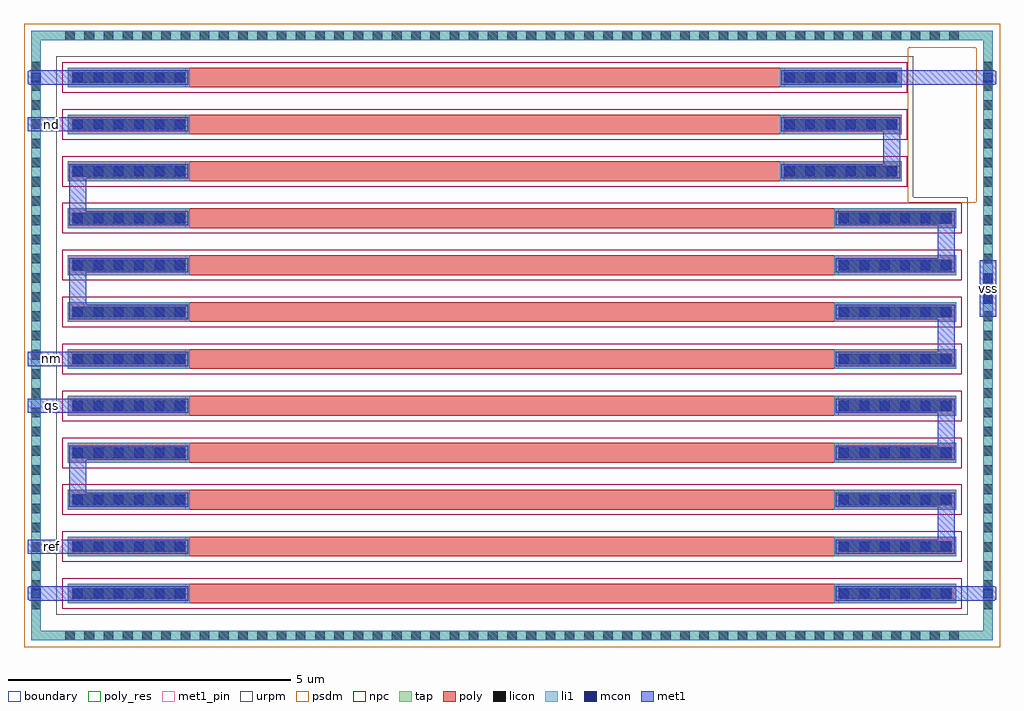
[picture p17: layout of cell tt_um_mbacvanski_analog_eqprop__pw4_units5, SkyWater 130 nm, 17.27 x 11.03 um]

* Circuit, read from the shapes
.subckt tt_um_mbacvanski_analog_eqprop__pw4_units5 nd nm qs ref vss
XR1 vss vss vss sky130_fd_pr__res_xhigh_po w=0.35 l=11.44
XR2 tt_um_mbacvanski_analog_eqprop__strips9_0/R1_6 ref vss sky130_fd_pr__res_xhigh_po w=0.35 l=11.44
XR3 tt_um_mbacvanski_analog_eqprop__strips9_0/R1_6 tt_um_mbacvanski_analog_eqprop__strips9_0/R2_5 vss sky130_fd_pr__res_xhigh_po w=0.35 l=11.44
XR4 tt_um_mbacvanski_analog_eqprop__strips9_0/R1_4 tt_um_mbacvanski_analog_eqprop__strips9_0/R2_5 vss sky130_fd_pr__res_xhigh_po w=0.35 l=11.44
XR5 tt_um_mbacvanski_analog_eqprop__strips9_0/R1_4 qs vss sky130_fd_pr__res_xhigh_po w=0.35 l=11.44
XR6 tt_um_mbacvanski_analog_eqprop__strips9_0/R1_2 nm vss sky130_fd_pr__res_xhigh_po w=0.35 l=11.44
XR7 tt_um_mbacvanski_analog_eqprop__strips9_0/R1_2 tt_um_mbacvanski_analog_eqprop__strips9_0/R2_1 vss sky130_fd_pr__res_xhigh_po w=0.35 l=11.44
XR8 tt_um_mbacvanski_analog_eqprop__strips9_0/R1_0 tt_um_mbacvanski_analog_eqprop__strips9_0/R2_1 vss sky130_fd_pr__res_xhigh_po w=0.35 l=11.44
XR9 tt_um_mbacvanski_analog_eqprop__strips9_0/R1_0 tt_um_mbacvanski_analog_eqprop__strips9_0/R2_0 vss sky130_fd_pr__res_xhigh_po w=0.35 l=11.44
XR10 tt_um_mbacvanski_analog_eqprop__strips3s_1/R1_1 tt_um_mbacvanski_analog_eqprop__strips9_0/R2_0 vss sky130_fd_pr__res_xhigh_po w=0.35 l=10.48
XR11 tt_um_mbacvanski_analog_eqprop__strips3s_1/R1_1 nd vss sky130_fd_pr__res_xhigh_po w=0.35 l=10.48
XR12 vss vss vss sky130_fd_pr__res_xhigh_po w=0.35 l=10.48
.ends

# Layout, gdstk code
from math import pi, radians
import gdstk
lib = gdstk.Library(unit=1e-6, precision=1e-09)
def R(c, l, rs):  # rectangles x0, y0, x1, y1
    for r in rs: c.add(gdstk.rectangle(r[:2], r[2:], *l))
def A(c, l, x, y, w, h, nx, ny, dx, dy):  # array of equal rectangles
    R(c, l, [(x+i*dx, y+j*dy, x+i*dx+w, y+j*dy+h) for i in range(nx) for j in range(ny)])
tap = (65, 44)
poly_res = (66, 13)
poly = (66, 20)
licon = (66, 44)
li1 = (67, 20)
mcon = (67, 44)
met1_pin = (68, 16)
met1 = (68, 20)
urpm = (79, 20)
psdm = (94, 20)
npc = (95, 20)
boundary = (235, 4)

tt_um_mbacvanski_analog_ = lib.new_cell('tt_um_mbacvanski_analog_eqprop__strips9')
A(tt_um_mbacvanski_analog_, poly_res, -3.495, -5.78, 0.35, 11.56, 9, 1, 0.83, 0)
A(tt_um_mbacvanski_analog_, poly, -3.495, -7.86, 0.35, 15.72, 9, 1, 0.83, 0)
A(tt_um_mbacvanski_analog_, licon, -3.415, -7.78, 0.19, 2, 9, 2, 0.83, 13.56)
A(tt_um_mbacvanski_analog_, li1, -3.495, -7.86, 0.35, 2.16, 9, 2, 0.83, 13.56)
A(tt_um_mbacvanski_analog_, mcon, -3.405, -7.765, 0.17, 0.17, 9, 6, 0.83, 0.36)
A(tt_um_mbacvanski_analog_, mcon, -3.405, 5.79, 0.17, 0.17, 9, 6, 0.83, 0.36)
A(tt_um_mbacvanski_analog_, met1, -3.445, -7.83, 0.25, 2.105, 9, 2, 0.83, 13.555)
R(tt_um_mbacvanski_analog_, urpm, [(-3.695,-8.06,3.695,8.06)])
R(tt_um_mbacvanski_analog_, psdm, [(-3.605,-7.97,3.605,7.97)])
A(tt_um_mbacvanski_analog_, npc, -3.59, -7.955, 0.54, 15.91, 9, 1, 0.83, 0)
tt_um_mbacvanski_analog_.add(gdstk.Label('R2_8', (3.32,-7.685), layer=67, texttype=5))
tt_um_mbacvanski_analog_.add(gdstk.Label('R1_8', (3.32,7.685), layer=67, texttype=5))
tt_um_mbacvanski_analog_.add(gdstk.Label('R2_7', (2.49,-7.685), layer=67, texttype=5))
tt_um_mbacvanski_analog_.add(gdstk.Label('R1_7', (2.49,7.685), layer=67, texttype=5))
tt_um_mbacvanski_analog_.add(gdstk.Label('R2_6', (1.66,-7.685), layer=67, texttype=5))
tt_um_mbacvanski_analog_.add(gdstk.Label('R1_0', (-3.32,7.685), layer=67, texttype=5))
tt_um_mbacvanski_analog_.add(gdstk.Label('R1_3', (-0.83,7.685), layer=67, texttype=5))
tt_um_mbacvanski_analog_.add(gdstk.Label('R1_1', (-2.49,7.685), layer=67, texttype=5))
tt_um_mbacvanski_analog_.add(gdstk.Label('R2_5', (0.83,-7.685), layer=67, texttype=5))
tt_um_mbacvanski_analog_.add(gdstk.Label('R2_0', (-3.32,-7.685), layer=67, texttype=5))
tt_um_mbacvanski_analog_.add(gdstk.Label('R2_1', (-2.49,-7.685), layer=67, texttype=5))
tt_um_mbacvanski_analog_.add(gdstk.Label('R2_2', (-1.66,-7.685), layer=67, texttype=5))
tt_um_mbacvanski_analog_.add(gdstk.Label('R1_6', (1.66,7.685), layer=67, texttype=5))
tt_um_mbacvanski_analog_.add(gdstk.Label('R2_3', (-0.83,-7.685), layer=67, texttype=5))
tt_um_mbacvanski_analog_.add(gdstk.Label('R1_2', (-1.66,7.685), layer=67, texttype=5))
tt_um_mbacvanski_analog_.add(gdstk.Label('R2_4', (0,-7.685), layer=67, texttype=5))
tt_um_mbacvanski_analog_.add(gdstk.Label('R1_5', (0.83,7.685), layer=67, texttype=5))
tt_um_mbacvanski_analog_.add(gdstk.Label('R1_4', (0,7.685), layer=67, texttype=5))

c_tt_um_mbacvanski_analog_ = lib.new_cell('tt_um_mbacvanski_analog_eqprop__strips3s')
A(c_tt_um_mbacvanski_analog_, poly_res, -1.005, -5.3, 0.35, 10.6, 3, 1, 0.83, 0)
A(c_tt_um_mbacvanski_analog_, poly, -1.005, -7.38, 0.35, 14.76, 3, 1, 0.83, 0)
A(c_tt_um_mbacvanski_analog_, licon, -0.925, -7.3, 0.19, 2, 3, 2, 0.83, 12.6)
A(c_tt_um_mbacvanski_analog_, li1, -1.005, -7.38, 0.35, 2.16, 3, 2, 0.83, 12.6)
A(c_tt_um_mbacvanski_analog_, mcon, -0.915, -7.285, 0.17, 0.17, 3, 6, 0.83, 0.36)
A(c_tt_um_mbacvanski_analog_, mcon, -0.915, 5.31, 0.17, 0.17, 3, 6, 0.83, 0.36)
A(c_tt_um_mbacvanski_analog_, met1, -0.955, -7.35, 0.25, 2.105, 3, 2, 0.83, 12.595)
R(c_tt_um_mbacvanski_analog_, urpm, [(-1.205,-7.58,1.205,7.58)])
R(c_tt_um_mbacvanski_analog_, psdm, [(-1.115,-7.49,1.115,7.49)])
A(c_tt_um_mbacvanski_analog_, npc, -1.1, -7.475, 0.54, 14.95, 3, 1, 0.83, 0)
c_tt_um_mbacvanski_analog_.add(gdstk.Label('R2_2', (0.83,-7.205), layer=67, texttype=5))
c_tt_um_mbacvanski_analog_.add(gdstk.Label('R1_2', (0.83,7.205), layer=67, texttype=5))
c_tt_um_mbacvanski_analog_.add(gdstk.Label('R2_1', (0,-7.205), layer=67, texttype=5))
c_tt_um_mbacvanski_analog_.add(gdstk.Label('R1_1', (0,7.205), layer=67, texttype=5))
c_tt_um_mbacvanski_analog_.add(gdstk.Label('R2_0', (-0.83,-7.205), layer=67, texttype=5))
c_tt_um_mbacvanski_analog_.add(gdstk.Label('R1_0', (-0.83,7.205), layer=67, texttype=5))

c_tt_um_mbacvanski_analog__ = lib.new_cell('tt_um_mbacvanski_analog_eqprop__pw4_units5')
R(c_tt_um_mbacvanski_analog__, tap, [(0,0,17.02,0.17), (0,0.17,0.17,10.61), (16.85,0.17,17.02,10.61), (0,10.61,17.02,10.78)])
A(c_tt_um_mbacvanski_analog__, licon, 0.605, 0, 0.17, 0.17, 47, 2, 0.34, 10.61)
A(c_tt_um_mbacvanski_analog__, licon, 0, 0.545, 0.17, 0.17, 1, 29, 0, 0.34)
A(c_tt_um_mbacvanski_analog__, licon, 16.85, 0.545, 0.17, 0.17, 1, 29, 0, 0.34)
R(c_tt_um_mbacvanski_analog__, li1, [(0,0,17.02,0.17), (0,0.17,0.17,10.61), (16.85,0.17,17.02,10.61), (0,10.61,17.02,10.78)])
R(c_tt_um_mbacvanski_analog__, mcon, [(0,0.74,0.17,0.91), (16.85,0.74,17.02,0.91), (16.85,5.955,17.02,6.125), (16.85,6.315,17.02,6.485), (0,9.87,0.17,10.04), (16.85,9.87,17.02,10.04)])
R(c_tt_um_mbacvanski_analog__, met1_pin, [(0.31,1.605,0.41,1.705), (0.31,4.095,0.41,4.195), (0.31,4.925,0.41,5.025), (16.885,6.17,16.985,6.27), (0.31,9.075,0.41,9.175)])
A(c_tt_um_mbacvanski_analog__, met1, 16.04, 1.53, 0.3, 1.08, 1, 4, 0, 1.66)
R(c_tt_um_mbacvanski_analog__, met1, [(-0.03,0.7,0.78,0.71), (16.24,0.7,17.05,0.71), (-0.06,0.71,0.78,0.94), (16.24,0.71,17.08,0.94), (-0.03,0.94,0.78,0.95), (16.24,0.94,17.05,0.95), (-0.06,1.53,0.78,1.78), (0.68,2.36,0.98,3.44), (-0.06,4.02,0.78,4.27), (-0.06,4.85,0.78,5.1), (0.68,5.68,0.98,6.76), (16.79,5.72,17.08,6.72), (0.68,7.34,0.98,8.42), (15.08,8.17,15.38,9.25), (-0.06,9,0.78,9.25), (-0.03,9.83,0.78,9.84), (15.28,9.83,17.05,9.84), (-0.06,9.84,0.78,10.07), (15.28,9.84,17.08,10.07), (-0.03,10.07,0.78,10.08), (15.28,10.07,17.05,10.08)])
R(c_tt_um_mbacvanski_analog__, urpm, [(0.45,7.84,15.61,7.92)])
R(c_tt_um_mbacvanski_analog__, psdm, [(-0.125,-0.125,17.145,0.54), (-0.125,0.54,0.54,7.75), (16.48,0.54,17.145,7.75), (-0.125,7.75,15.52,8.01), (16.725,7.75,17.145,10.485), (-0.125,8.01,0.54,10.24), (-0.125,10.24,15.52,10.485), (-0.125,10.485,17.145,10.905)])
R(c_tt_um_mbacvanski_analog__, boundary, [(0,0,17.02,10.78)])
c_tt_um_mbacvanski_analog__.add(gdstk.Reference(tt_um_mbacvanski_analog_, (8.51,4.145), rotation=3*pi/2))
c_tt_um_mbacvanski_analog__.add(gdstk.Reference(c_tt_um_mbacvanski_analog_, (8.03,9.125), rotation=3*pi/2))
c_tt_um_mbacvanski_analog__.add(gdstk.Label('vss', (16.935,6.22), layer=68, texttype=5))
c_tt_um_mbacvanski_analog__.add(gdstk.Label('ref', (0.36,1.655), layer=68, texttype=5))
c_tt_um_mbacvanski_analog__.add(gdstk.Label('qs', (0.36,4.145), layer=68, texttype=5))
c_tt_um_mbacvanski_analog__.add(gdstk.Label('nm', (0.36,4.975), layer=68, texttype=5))
c_tt_um_mbacvanski_analog__.add(gdstk.Label('nd', (0.36,9.125), layer=68, texttype=5))

lib.write_gds('tt_um_mbacvanski_analog_eqprop__pw4_units5.gds')
